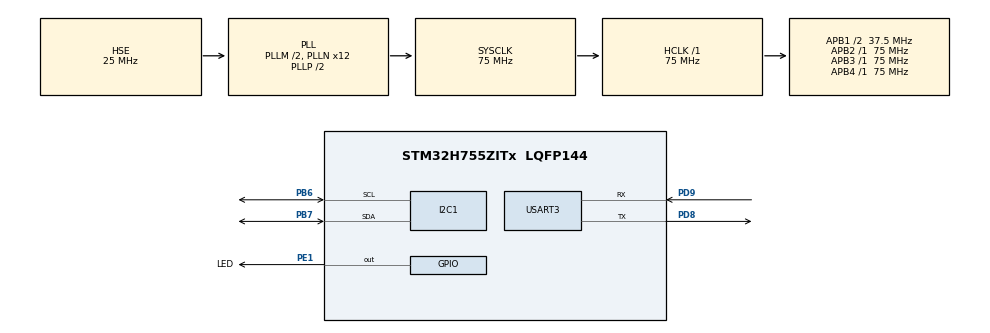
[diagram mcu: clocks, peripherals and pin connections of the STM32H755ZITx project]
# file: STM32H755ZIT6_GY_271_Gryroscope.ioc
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CortexM4.IPs=BDMA,CORTEX_M4\:I,DEBUG,DMA,FATFS_M4\:I,FREERTOS_M4\:I,GPIO,IWDG2\:I,MDMA,NVIC2\:I,OPENAMP_M4\:I,PDM2PCM_M4\:I,PWR,RCC,RESMGR_UTILITY,SYS_M4\:I,USB_DEVICE_M4\:I,USB_HOST_M4\:I,VREFBUF,WWDG2\:I
CortexM7.IPs=BDMA\:I,CORTEX_M7\:I,DEBUG\:I,DMA\:I,FATFS_M7\:I,FREERTOS_M7\:I,GPIO\:I,IWDG1\:I,MDMA\:I,NVIC1\:I,OPENAMP_M7\:I,PDM2PCM_M7\:I,PWR\:I,RCC\:I,RESMGR_UTILITY\:I,SYS\:I,USB_DEVICE_M7\:I,USB_HOST_M7\:I,VREFBUF\:I,WWDG1\:I,I2C1\:I,USART3\:I
CortexM7.Pins=PE1
I2C1.Timing=0x00909FCE
Mcu.Family=STM32H7
Mcu.Name=STM32H755ZITx
Mcu.Package=LQFP144
NVIC1.PriorityGroup=NVIC_PRIORITYGROUP_4
NVIC2.PriorityGroup=NVIC_PRIORITYGROUP_4
PB6.Mode=I2C
PB6.PinAttribute=CortexM7
PB6.Signal=I2C1_SCL
PB7.Mode=I2C
PB7.PinAttribute=CortexM7
PB7.Signal=I2C1_SDA
PD8.Mode=Asynchronous
PD8.PinAttribute=CortexM7
PD8.Signal=USART3_TX
PD9.Mode=Asynchronous
PD9.PinAttribute=CortexM7
PD9.Signal=USART3_RX
PE1.GPIO_Label=LED
PE1.GPIO_PuPd=GPIO_PULLDOWN
PE1.GPIO_Speed=GPIO_SPEED_FREQ_MEDIUM
PE1.PinAttribute=CortexM7
PE1.Signal=GPIO_Output
PH0-OSC_IN\ (PH0).Mode=HSE-External-Oscillator
PH0-OSC_IN\ (PH0).PinAttribute=Free
PH0-OSC_IN\ (PH0).Signal=RCC_OSC_IN
PH1-OSC_OUT\ (PH1).Mode=HSE-External-Oscillator
PH1-OSC_OUT\ (PH1).PinAttribute=Free
PH1-OSC_OUT\ (PH1).Signal=RCC_OSC_OUT
ProjectManager.HeapSize=M4-0x200,M7-0x200
ProjectManager.StackSize=M4-0x400,M7-0x400
ProjectManager.TargetToolchain=STM32CubeIDE
RCC.ADCFreq_Value=50390625
RCC.APB1Freq_Value=37500000
RCC.APB2Freq_Value=75000000
RCC.APB3Freq_Value=75000000
RCC.APB4Freq_Value=75000000
RCC.CortexFreq_Value=75000000
RCC.D2PPRE1=RCC_APB1_DIV2
RCC.DIVM1=2
RCC.DIVM3=16
RCC.DIVN1=12
RCC.HCLKFreq_Value=75000000
RCC.PLLFRACN=0
RCC.PLLSourceVirtual=RCC_PLLSOURCE_HSE
RCC.SYSCLKFreq_VALUE=75000000
RCC.SYSCLKSource=RCC_SYSCLKSOURCE_PLLCLK
RCC.USBFreq_Value=75000000
SYS.userName=SYS_M7
USART3.VirtualMode-Asynchronous=VM_ASYNC
VP_SYS_M4_VS_Systick.Mode=SysTick
board=custom

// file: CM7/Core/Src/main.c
/* USER CODE BEGIN Header */
/**
  ******************************************************************************
  * @file           : main.c
  * @brief          : Main program body
  ******************************************************************************
  * @attention
  *
  * Copyright (c) 2024 STMicroelectronics.
  * All rights reserved.
  *
  * This software is licensed under terms that can be found in the LICENSE file
  * in the root directory of this software component.
  * If no LICENSE file comes with this software, it is provided AS-IS.
  *
  ******************************************************************************
  */
/* USER CODE END Header */
#include "main.h"
#include "i2c.h"
#include "usart.h"
#include "gpio.h"

/* USER CODE BEGIN Includes */
#include "string.h"
/* USER CODE END Includes */

/* USER CODE BEGIN PD */

#ifndef HSEM_ID_0
#define HSEM_ID_0 (0U) /* HW semaphore 0*/
#endif

/* USER CODE END PD */

void SystemClock_Config(void);
static void MPU_Config(void);

int main(void)
{
/* USER CODE BEGIN Boot_Mode_Sequence_0 */
  int32_t timeout;
/* USER CODE END Boot_Mode_Sequence_0 */

  /* MPU Configuration--------------------------------------------------------*/
  MPU_Config();

/* USER CODE BEGIN Boot_Mode_Sequence_1 */
  /* Wait until CPU2 boots and enters in stop mode or timeout*/
  timeout = 0xFFFF;
  while((__HAL_RCC_GET_FLAG(RCC_FLAG_D2CKRDY) != RESET) && (timeout-- > 0));
  if ( timeout < 0 )
  {
  Error_Handler();
  }
/* USER CODE END Boot_Mode_Sequence_1 */
  /* MCU Configuration--------------------------------------------------------*/

  /* Reset of all peripherals, Initializes the Flash interface and the Systick. */
  HAL_Init();

  /* Configure the system clock */
  SystemClock_Config();
/* USER CODE BEGIN Boot_Mode_Sequence_2 */
/* When system initialization is finished, Cortex-M7 will release Cortex-M4 by means of
HSEM notification */
/*HW semaphore Clock enable*/
__HAL_RCC_HSEM_CLK_ENABLE();
/*Take HSEM */
HAL_HSEM_FastTake(HSEM_ID_0);
/*Release HSEM in order to notify the CPU2(CM4)*/
HAL_HSEM_Release(HSEM_ID_0,0);
/* wait until CPU2 wakes up from stop mode */
timeout = 0xFFFF;
while((__HAL_RCC_GET_FLAG(RCC_FLAG_D2CKRDY) == RESET) && (timeout-- > 0));
if ( timeout < 0 )
{
Error_Handler();
}
/* USER CODE END Boot_Mode_Sequence_2 */

  /* Initialize all configured peripherals */
  MX_GPIO_Init();
  MX_I2C1_Init();
  MX_USART3_UART_Init();
  /* USER CODE BEGIN 2 */
  char *x_variable = "X:";
  	char *y_variable = "Y:";
  	char *angle_variable ="Angle:";
  	char buf[20];
  	uint8_t HMC5883L_Addr = 0x1E;
  	uint8_t CRA = 0x70;
  	uint8_t CRB = 0xA0;
  	uint8_t single_val = 0x01;
  	uint8_t x_msb = 0;
  	uint8_t x_lsb = 0;
  	uint8_t y_msb = 0;
  	uint8_t y_lsb = 0;

  	HAL_I2C_Mem_Write(&hi2c1, HMC5883L_Addr<<1, 0x00, 1, &CRA, 1, 100);
  	HAL_I2C_Mem_Write(&hi2c1, HMC5883L_Addr<<1, 0x01, 1, &CRB, 1, 100);

  /* USER CODE END 2 */

  /* Infinite loop */
  while (1)
  {

    /* USER CODE BEGIN 3 */

	    /* USER CODE END 2 */

	  		HAL_I2C_Mem_Write(&hi2c1, HMC5883L_Addr<<1, 0x02, 1, &single_val, 1, 100);
	  		HAL_Delay(6);
	  		HAL_I2C_Mem_Read(&hi2c1, HMC5883L_Addr<<1, 0x03, 1, &x_msb, 1, 100);
	  		HAL_Delay(6);
	  		HAL_I2C_Mem_Read(&hi2c1, HMC5883L_Addr<<1, 0x04, 1, &x_lsb, 1, 100);
	  		HAL_Delay(6);
	  		HAL_I2C_Mem_Read(&hi2c1, HMC5883L_Addr<<1, 0x07, 1, &y_msb, 1, 100);
	  		HAL_Delay(6);
	  		HAL_I2C_Mem_Read(&hi2c1, HMC5883L_Addr<<1, 0x08, 1, &y_lsb, 1, 100);
	  		HAL_Delay(6);

	  		sprintf(buf, "%04d", x_msb);
	  		//LCD_DrawString(100, 80, buf);
	  		HAL_UART_Transmit(&huart3, buf,sizeof(buf),100);
	  		sprintf(buf, "%04d", y_msb);
	  		//LCD_DrawString(100, 100, buf);
	  		HAL_UART_Transmit(&huart3, buf,sizeof(buf),100);
	  		sprintf(buf, "%04d", x_lsb);
	  		//LCD_DrawString(150, 80, buf);
	  		HAL_UART_Transmit(&huart3, buf,sizeof(buf),100);
	  		sprintf(buf, "%04d", y_lsb);
	  		//LCD_DrawString(150, 100, buf);
	  		HAL_UART_Transmit(&huart3, buf,sizeof(buf),100);
	  		HAL_GPIO_TogglePin(GPIOE,GPIO_PIN_1);
  }
  /* USER CODE END 3 */
}

void SystemClock_Config(void)
{
  RCC_OscInitTypeDef RCC_OscInitStruct = {0};
  RCC_ClkInitTypeDef RCC_ClkInitStruct = {0};

  /** Supply configuration update enable
  */
  HAL_PWREx_ConfigSupply(PWR_DIRECT_SMPS_SUPPLY);

  /** Configure the main internal regulator output voltage
  */
  __HAL_PWR_VOLTAGESCALING_CONFIG(PWR_REGULATOR_VOLTAGE_SCALE3);

  while(!__HAL_PWR_GET_FLAG(PWR_FLAG_VOSRDY)) {}

  /** Initializes the RCC Oscillators according to the specified parameters
  * in the RCC_OscInitTypeDef structure.
  */
  RCC_OscInitStruct.OscillatorType = RCC_OSCILLATORTYPE_HSE;
  RCC_OscInitStruct.HSEState = RCC_HSE_ON;
  RCC_OscInitStruct.PLL.PLLState = RCC_PLL_ON;
  RCC_OscInitStruct.PLL.PLLSource = RCC_PLLSOURCE_HSE;
  RCC_OscInitStruct.PLL.PLLM = 2;
  RCC_OscInitStruct.PLL.PLLN = 12;
  RCC_OscInitStruct.PLL.PLLP = 2;
  RCC_OscInitStruct.PLL.PLLQ = 2;
  RCC_OscInitStruct.PLL.PLLR = 2;
  RCC_OscInitStruct.PLL.PLLRGE = RCC_PLL1VCIRANGE_3;
  RCC_OscInitStruct.PLL.PLLVCOSEL = RCC_PLL1VCOMEDIUM;
  RCC_OscInitStruct.PLL.PLLFRACN = 0;
  if (HAL_RCC_OscConfig(&RCC_OscInitStruct) != HAL_OK)
  {
    Error_Handler();
  }

  /** Initializes the CPU, AHB and APB buses clocks
  */
  RCC_ClkInitStruct.ClockType = RCC_CLOCKTYPE_HCLK|RCC_CLOCKTYPE_SYSCLK
                              |RCC_CLOCKTYPE_PCLK1|RCC_CLOCKTYPE_PCLK2
                              |RCC_CLOCKTYPE_D3PCLK1|RCC_CLOCKTYPE_D1PCLK1;
  RCC_ClkInitStruct.SYSCLKSource = RCC_SYSCLKSOURCE_PLLCLK;
  RCC_ClkInitStruct.SYSCLKDivider = RCC_SYSCLK_DIV1;
  RCC_ClkInitStruct.AHBCLKDivider = RCC_HCLK_DIV1;
  RCC_ClkInitStruct.APB3CLKDivider = RCC_APB3_DIV1;
  RCC_ClkInitStruct.APB1CLKDivider = RCC_APB1_DIV2;
  RCC_ClkInitStruct.APB2CLKDivider = RCC_APB2_DIV1;
  RCC_ClkInitStruct.APB4CLKDivider = RCC_APB4_DIV1;

  if (HAL_RCC_ClockConfig(&RCC_ClkInitStruct, FLASH_LATENCY_1) != HAL_OK)
  {
    Error_Handler();
  }
}

/* MPU Configuration */

void MPU_Config(void)
{
  MPU_Region_InitTypeDef MPU_InitStruct = {0};

  /* Disables the MPU */
  HAL_MPU_Disable();

  /** Initializes and configures the Region and the memory to be protected
  */
  MPU_InitStruct.Enable = MPU_REGION_ENABLE;
  MPU_InitStruct.Number = MPU_REGION_NUMBER0;
  MPU_InitStruct.BaseAddress = 0x0;
  MPU_InitStruct.Size = MPU_REGION_SIZE_4GB;
  MPU_InitStruct.SubRegionDisable = 0x87;
  MPU_InitStruct.TypeExtField = MPU_TEX_LEVEL0;
  MPU_InitStruct.AccessPermission = MPU_REGION_NO_ACCESS;
  MPU_InitStruct.DisableExec = MPU_INSTRUCTION_ACCESS_DISABLE;
  MPU_InitStruct.IsShareable = MPU_ACCESS_SHAREABLE;
  MPU_InitStruct.IsCacheable = MPU_ACCESS_NOT_CACHEABLE;
  MPU_InitStruct.IsBufferable = MPU_ACCESS_NOT_BUFFERABLE;

  HAL_MPU_ConfigRegion(&MPU_InitStruct);
  /* Enables the MPU */
  HAL_MPU_Enable(MPU_PRIVILEGED_DEFAULT);

}

void Error_Handler(void)
{
  __disable_irq();
  while (1)
  {
  }
}
